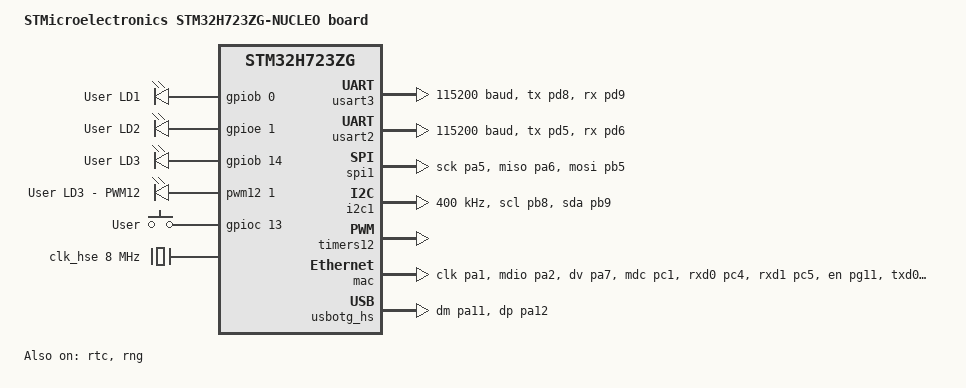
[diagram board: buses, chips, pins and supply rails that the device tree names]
/*
 * Copyright (c) 2020 Alexander Kozhinov <AlexanderKozhinov@yandex.com>
 * SPDX-License-Identifier: Apache-2.0
 */

/dts-v1/;
#include <st/h7/stm32h723Xg.dtsi>
#include <st/h7/stm32h723zgtx-pinctrl.dtsi>
#include "arduino_r3_connector.dtsi"
#include <zephyr/dt-bindings/input/input-event-codes.h>

/*
 * WARNING:
 * JP6 and SB72 must be ON when using Ethernet.
 */

/ {
	model = "STMicroelectronics STM32H723ZG-NUCLEO board";
	compatible = "st,stm32h723zg-nucleo";

	chosen {
		zephyr,console = &usart3;
		zephyr,shell-uart = &usart3;
		zephyr,dtcm = &dtcm;
		zephyr,sram = &sram0;
		zephyr,flash = &flash0;
	};

	leds: leds {
		compatible = "gpio-leds";
		green_led: led_0 {
			gpios = <&gpiob 0 GPIO_ACTIVE_HIGH>;
			label = "User LD1";
		};
		yellow_led: led_1 {
			gpios = <&gpioe 1 GPIO_ACTIVE_HIGH>;
			label = "User LD2";
		};
		red_led: led_2 {
			gpios = <&gpiob 14 GPIO_ACTIVE_HIGH>;
			label = "User LD3";
		};
	};

	pwmleds {
		compatible = "pwm-leds";

		red_pwm_led: red_pwm_led {
			pwms = <&pwm12 1 PWM_MSEC(20) PWM_POLARITY_NORMAL>;
			label = "User LD3 - PWM12";
		};
	};

	gpio_keys {
		compatible = "gpio-keys";
		user_button: button_0 {
			label = "User";
			gpios = <&gpioc 13 GPIO_ACTIVE_HIGH>;
			zephyr,code = <INPUT_KEY_0>;
		};
	};

	aliases {
		led0 = &green_led;
		led1 = &yellow_led;
		led2 = &red_led;
		pwm-led0 = &red_pwm_led;
		sw0 = &user_button;
	};
};

&clk_lsi {
	status = "okay";
};

&clk_hsi48 {
	status = "okay";
};

&clk_hse {
	hse-bypass;
	clock-frequency = <DT_FREQ_M(8)>; /* STLink 8MHz clock */
	status = "okay";
};

&clk_lse {
	status = "okay";
};

&pll {
	div-m = <4>;
	mul-n = <275>;
	div-p = <1>;
	div-q = <4>;
	div-r = <2>;
	clocks = <&clk_hse>;
	status = "okay";
};

&rcc {
	clocks = <&pll>;
	clock-frequency = <DT_FREQ_M(550)>;
	d1cpre = <1>;
	hpre = <2>;    /* HCLK: 275   MHz */
	d1ppre = <2>;  /* APB1: 137.5 MHz */
	d2ppre1 = <2>; /* APB2: 137.5 MHz */
	d2ppre2 = <2>; /* APB3: 137.5 MHz */
	d3ppre = <2>;  /* APB4: 137.5 MHz */
};

&usart3 {
	pinctrl-0 = <&usart3_tx_pd8 &usart3_rx_pd9>;
	pinctrl-names = "default";
	current-speed = <115200>;
	status = "okay";
};

&usart2 {
	pinctrl-0 = <&usart2_tx_pd5 &usart2_rx_pd6>;
	pinctrl-names = "default";
	current-speed = <115200>;
	status = "okay";
};

&rtc {
	clocks = <&rcc STM32_CLOCK_BUS_APB4 0x00010000>,
		 <&rcc STM32_SRC_LSI RTC_SEL(2)>;
	status = "okay";
};

&spi1 {
	status = "okay";
	pinctrl-0 = <&spi1_sck_pa5 &spi1_miso_pa6 &spi1_mosi_pb5>;
	pinctrl-names = "default";
	cs-gpios = <&gpiod 14 (GPIO_ACTIVE_LOW | GPIO_PULL_UP)>;
};

&i2c1 {
	pinctrl-0 = <&i2c1_scl_pb8 &i2c1_sda_pb9>;
	pinctrl-names = "default";
	status = "okay";
	clock-frequency = <I2C_BITRATE_FAST>;
};

&backup_sram {
	status = "okay";
};

&timers12 {
	st,prescaler = <10000>;
	status = "okay";

	pwm12: pwm {
		status = "okay";
		pinctrl-0 = <&tim12_ch1_pb14>;
		pinctrl-names = "default";
	};
};

&mac {
	status = "okay";
	pinctrl-0 = <&eth_ref_clk_pa1
		     &eth_mdio_pa2
		     &eth_crs_dv_pa7
		     &eth_mdc_pc1
		     &eth_rxd0_pc4
		     &eth_rxd1_pc5
		     &eth_tx_en_pg11
		     &eth_txd0_pg13
		     &eth_txd1_pb13>;
	pinctrl-names = "default";
};

zephyr_udc0: &usbotg_hs {
	pinctrl-0 = <&usb_otg_hs_dm_pa11 &usb_otg_hs_dp_pa12>;
	pinctrl-names = "default";
	status = "okay";
};

&rng {
	status = "okay";
};
